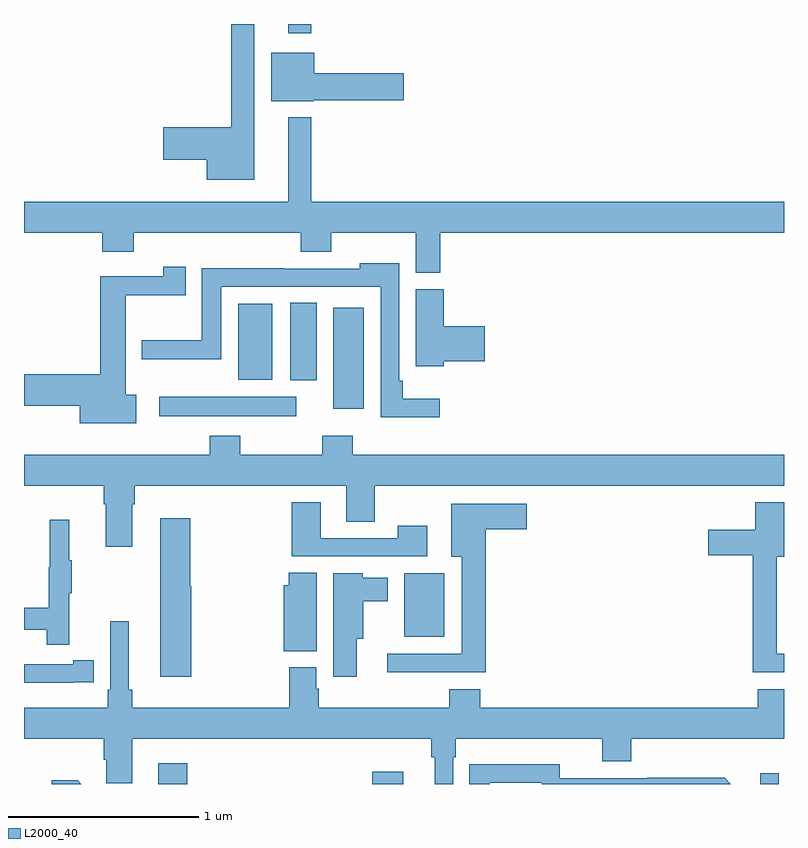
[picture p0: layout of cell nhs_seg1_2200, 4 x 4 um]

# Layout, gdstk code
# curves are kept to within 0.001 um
import gdstk
lib = gdstk.Library(unit=1e-6, precision=1e-09)
def R(c, l, rs):  # rectangles x0, y0, x1, y1
    for r in rs: c.add(gdstk.rectangle(r[:2], r[2:], *l))
def P(c, l, *ps):  # polygons
    for p in ps: c.add(gdstk.Polygon(p, *l))
L2000_40 = (2000, 40)

nhs_seg1_2200 = lib.new_cell('nhs_seg1_2200')
R(nhs_seg1_2200, L2000_40, [(231.707,514.199,231.86,514.309), (232.832,514.199,232.996,514.264), (234.876,514.199,234.973,514.255), (233,514.973,233.212,515.308), (231.711,516.134,232.432,516.238), (232.628,516.174,232.789,516.706), (232.4,516.323,232.54,516.731), (232.127,516.326,232.306,516.727), (232.391,518.151,232.513,518.199)])
P(nhs_seg1_2200, L2000_40, [(232.213,518.199),(232.092,518.199),(232.092,517.655),(231.732,517.655),(231.732,517.484),(231.962,517.484),(231.962,517.379),(232.213,517.379)],
  [(232.524,517.799),(232.999,517.799),(232.999,517.941),(232.528,517.941),(232.528,518.047),(232.301,518.047),(232.301,517.793),(232.524,517.793)],
  [(233.192,517.1),(235,517.1),(235,517.264),(232.513,517.264),(232.513,517.708),(232.391,517.708),(232.391,517.264),(231,517.264),(231,517.1),(231.413,517.1),(231.413,517.001),(231.578,517.001),(231.578,517.1),(232.457,517.1),(232.457,517.001),(232.617,517.001),(232.617,517.1),(233.063,517.1),(233.063,516.889),(233.192,516.889)],
  [(233.188,516.226),(232.994,516.226),(232.994,516.322),(232.974,516.322),(232.974,516.94),(232.767,516.94),(232.767,516.912),(232.373,516.912),(232.373,516.914),(231.935,516.914),(231.935,516.534),(231.62,516.534),(231.62,516.434),(232.039,516.434),(232.039,516.816),(232.878,516.816),(232.878,516.128),(233.188,516.128)],
  [(231.592,516.248),(231.535,516.248),(231.535,516.772),(231.85,516.772),(231.85,516.922),(231.733,516.922),(231.733,516.871),(231.401,516.871),(231.401,516.356),(231,516.356),(231,516.191),(231.293,516.191),(231.293,516.098),(231.592,516.098)],
  [(233.21,516.425),(233.425,516.425),(233.425,516.608),(233.21,516.608),(233.21,516.804),(233.063,516.804),(233.063,516.398),(233.21,516.398)],
  [(231.571,515.672),(231.584,515.672),(231.584,515.768),(232.697,515.768),(232.697,515.578),(232.845,515.578),(232.845,515.768),(235,515.768),(235,515.932),(232.73,515.932),(232.73,516.031),(232.57,516.031),(232.57,515.932),(232.137,515.932),(232.137,516.031),(231.977,516.031),(231.977,515.932),(231,515.932),(231,515.768),(231.419,515.768),(231.419,515.672),(231.431,515.672),(231.431,515.448),(231.571,515.448)],
  [(233.122,515.557),(232.966,515.557),(232.966,515.493),(232.561,515.493),(232.561,515.683),(232.409,515.683),(232.409,515.397),(233.122,515.397)],
  [(235,514.884),(234.961,514.884),(234.961,515.396),(235,515.396),(235,515.683),(234.848,515.683),(234.848,515.536),(234.6,515.536),(234.6,515.402),(234.836,515.402),(234.836,514.787),(235,514.787)],
  [(233.429,515.54),(233.647,515.54),(233.647,515.674),(233.249,515.674),(233.249,515.396),(233.303,515.396),(233.303,514.884),(232.911,514.884),(232.911,514.787),(233.429,514.787)],
  [(231.88,515.241),(231.875,515.241),(231.875,515.599),(231.716,515.599),(231.716,514.764),(231.88,514.764)],
  [(231.239,515.203),(231.25,515.203),(231.25,515.377),(231.239,515.377),(231.239,515.59),(231.136,515.59),(231.136,515.34),(231.129,515.34),(231.129,515.126),(231,515.126),(231,515.01),(231.121,515.01),(231.121,514.932),(231.239,514.932)],
  [(232.54,515.312),(232.394,515.312),(232.394,515.245),(232.367,515.245),(232.367,514.898),(232.54,514.898)],
  [(232.75,514.964),(232.786,514.964),(232.786,515.162),(232.915,515.162),(232.915,515.284),(232.782,515.284),(232.782,515.308),(232.628,515.308),(232.628,514.764),(232.75,514.764)],
  [(233.259,514.34),(233.273,514.34),(233.273,514.436),(234.044,514.436),(234.044,514.319),(234.197,514.319),(234.197,514.436),(235,514.436),(235,514.699),(234.863,514.699),(234.863,514.6),(233.402,514.6),(233.402,514.699),(233.237,514.699),(233.237,514.6),(232.55,514.6),(232.55,514.701),(232.537,514.701),(232.537,514.813),(232.397,514.813),(232.397,514.6),(231.569,514.6),(231.569,514.696),(231.55,514.696),(231.55,515.056),(231.453,515.056),(231.453,514.696),(231.44,514.696),(231.44,514.6),(231,514.6),(231,514.436),(231.419,514.436),(231.419,514.326),(231.432,514.326),(231.432,514.204),(231.571,514.204),(231.571,514.436),(233.143,514.436),(233.143,514.34),(233.162,514.34),(233.162,514.199),(233.259,514.199)],
  [(231.26,514.734),(231.368,514.734),(231.368,514.85),(231.26,514.85),(231.26,514.83),(231,514.83),(231,514.733),(231.26,514.733)],
  [(233.452,514.206),(233.724,514.206),(233.724,514.199),(234.721,514.199),(234.688,514.232),(234.28,514.232),(234.28,514.23),(233.82,514.23),(233.82,514.303),(233.344,514.302),(233.344,514.199),(233.452,514.199)],
  [(231.282,514.219),(231.147,514.219),(231.147,514.199),(231.302,514.199)])

lib.write_gds('nhs_seg1_2200.gds')
